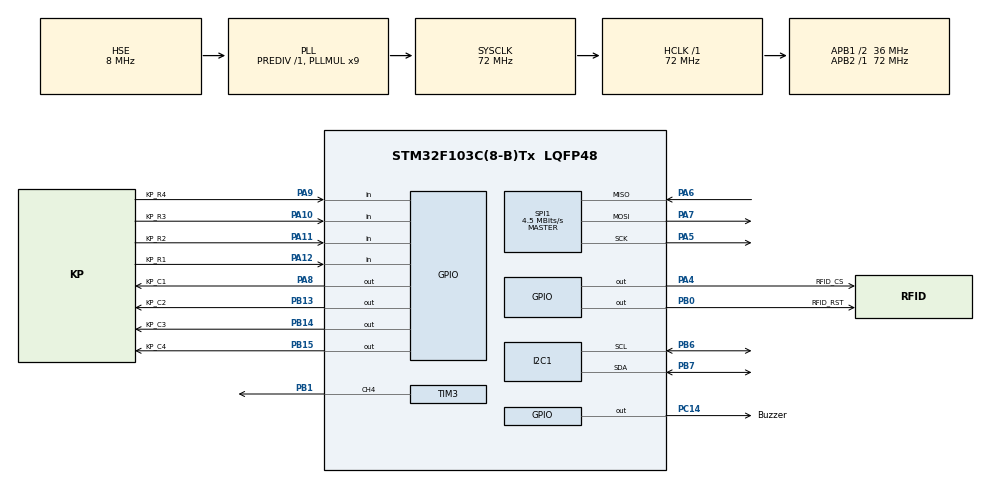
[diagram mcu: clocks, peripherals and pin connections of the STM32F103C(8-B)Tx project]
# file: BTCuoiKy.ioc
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Mcu.Family=STM32F1
Mcu.Name=STM32F103C(8-B)Tx
Mcu.Package=LQFP48
NVIC.PriorityGroup=NVIC_PRIORITYGROUP_4
PA10.GPIO_Label=KP_R3
PA10.GPIO_PuPd=GPIO_PULLUP
PA10.Signal=GPIO_Input
PA11.GPIO_Label=KP_R2
PA11.GPIO_PuPd=GPIO_PULLUP
PA11.Signal=GPIO_Input
PA12.GPIO_Label=KP_R1
PA12.GPIO_PuPd=GPIO_PULLUP
PA12.Signal=GPIO_Input
PA13.Mode=Serial_Wire
PA13.Signal=SYS_JTMS-SWDIO
PA14.Mode=Serial_Wire
PA14.Signal=SYS_JTCK-SWCLK
PA4.GPIO_Label=RFID_CS
PA4.GPIO_Speed=GPIO_SPEED_FREQ_HIGH
PA4.PinState=GPIO_PIN_SET
PA4.Signal=GPIO_Output
PA5.Mode=Full_Duplex_Master
PA5.Signal=SPI1_SCK
PA6.Mode=Full_Duplex_Master
PA6.Signal=SPI1_MISO
PA7.Mode=Full_Duplex_Master
PA7.Signal=SPI1_MOSI
PA8.GPIO_Label=KP_C1
PA8.PinState=GPIO_PIN_SET
PA8.Signal=GPIO_Output
PA9.GPIO_Label=KP_R4
PA9.GPIO_PuPd=GPIO_PULLUP
PA9.Signal=GPIO_Input
PB0.GPIO_Label=RFID_RST
PB0.GPIO_PuPd=GPIO_NOPULL
PB0.GPIO_Speed=GPIO_SPEED_FREQ_HIGH
PB0.PinState=GPIO_PIN_SET
PB0.Signal=GPIO_Output
PB1.Signal=S_TIM3_CH4
PB13.GPIO_Label=KP_C2
PB13.PinState=GPIO_PIN_SET
PB13.Signal=GPIO_Output
PB14.GPIO_Label=KP_C3
PB14.PinState=GPIO_PIN_SET
PB14.Signal=GPIO_Output
PB15.GPIO_Label=KP_C4
PB15.PinState=GPIO_PIN_SET
PB15.Signal=GPIO_Output
PB6.Mode=I2C
PB6.Signal=I2C1_SCL
PB7.Mode=I2C
PB7.Signal=I2C1_SDA
PC14-OSC32_IN.GPIO_Label=Buzzer
PC14-OSC32_IN.Signal=GPIO_Output
PD0-OSC_IN.Mode=HSE-External-Oscillator
PD0-OSC_IN.Signal=RCC_OSC_IN
PD1-OSC_OUT.Mode=HSE-External-Oscillator
PD1-OSC_OUT.Signal=RCC_OSC_OUT
ProjectManager.HeapSize=0x200
ProjectManager.StackSize=0x400
ProjectManager.TargetToolchain=STM32CubeIDE
RCC.AHBFreq_Value=72000000
RCC.APB1CLKDivider=RCC_HCLK_DIV2
RCC.APB1Freq_Value=36000000
RCC.APB1TimFreq_Value=72000000
RCC.APB2Freq_Value=72000000
RCC.APB2TimFreq_Value=72000000
RCC.HCLKFreq_Value=72000000
RCC.PLLMUL=RCC_PLL_MUL9
RCC.PLLSourceVirtual=RCC_PLLSOURCE_HSE
RCC.SYSCLKFreq_VALUE=72000000
RCC.SYSCLKSource=RCC_SYSCLKSOURCE_PLLCLK
RCC.USBFreq_Value=72000000
SH.S_TIM3_CH4.0=TIM3_CH4,PWM Generation4 CH4
SPI1.BaudRatePrescaler=SPI_BAUDRATEPRESCALER_16
SPI1.CalculateBaudRate=4.5 MBits/s
SPI1.Direction=SPI_DIRECTION_2LINES
SPI1.Mode=SPI_MODE_MASTER
SPI1.VirtualType=VM_MASTER
TIM3.Channel-PWM\ Generation4\ CH4=TIM_CHANNEL_4
TIM3.Period=999
TIM3.Prescaler=1439
TIM3.Pulse-PWM\ Generation4\ CH4=25
board=custom

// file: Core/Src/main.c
/* USER CODE BEGIN Header */
/**
  ******************************************************************************
  * @file           : main.c
  * @brief          : Main program body
  ******************************************************************************
  * @attention
  *
  * Copyright (c) 2026 STMicroelectronics.
  * All rights reserved.
  *
  * This software is licensed under terms that can be found in the LICENSE file
  * in the root directory of this software component.
  * If no LICENSE file comes with this software, it is provided AS-IS.
  *
  ******************************************************************************
  */
/* USER CODE END Header */
#include "main.h"

/* USER CODE BEGIN Includes */
#include "CLCD_I2C.h"
#include "RC522.h"
#include "string.h"
#include "stdio.h"
#include "stdbool.h"
/* USER CODE END Includes */

/* USER CODE BEGIN PTD */
typedef enum
{
    ST_LOGIN = 0,

    ST_DOOR_OPEN,

    ST_LOCKED,

    ST_ADMIN_OLD_PASSWORD,

    ST_ADMIN_NEW_PASSWORD

} AppState;

/* USER CODE END PTD */

/* USER CODE BEGIN PD */
#define PASSWORD_FLASH_ADDR    0x0800FC00UL
#define PASSWORD_MAGIC         0xA55AU
#define PASSWORD_MAX_LEN       16U
#define PASSWORD_MAX_LEN      8
#define UID_LEN               4

#define MAX_WRONG_ATTEMPTS    3

#define LOCK_TIME_MS          30000UL
#define DOOR_OPEN_TIME_MS     5000UL
#define BUZZER_TIME_MS        3000UL

#define RFID_SCAN_PERIOD_MS   100UL

#define SERVO_CCR_0_DEG       25U
#define SERVO_CCR_90_DEG      75U
#define SERVO_CCR_180_DEG     125U

/* USER CODE END PD */

I2C_HandleTypeDef hi2c1;

SPI_HandleTypeDef hspi1;

TIM_HandleTypeDef htim3;

/* USER CODE BEGIN PV */
CLCD_I2C_Name LCD1;

/* =========================
   RFID
   ========================= */

#define UID_LEN 4

uint8_t status;
uint8_t str[16];

uint8_t admin_uid[UID_LEN] =
{
    0xFC, 0x31, 0x03, 0x07
};

/* =========================
   PASSWORD
   ========================= */

char system_password[PASSWORD_MAX_LEN + 1] = "1234";

char input_buffer[17] = {0};

uint8_t input_len = 0;

uint8_t wrong_count = 0;

/* =========================
   STATE
   ========================= */
AppState app_state = ST_LOGIN;

/* =========================
   TIMER
   ========================= */

uint32_t door_open_tick = 0;

uint32_t lock_start_tick = 0;

uint32_t buzzer_start_tick = 0;

uint32_t last_rfid_scan = 0;

bool buzzer_active = false;

/* USER CODE END PV */

void SystemClock_Config(void);
static void MX_GPIO_Init(void);
static void MX_I2C1_Init(void);
static void MX_SPI1_Init(void);
static void MX_TIM3_Init(void);
/* USER CODE BEGIN PFP */
void Password_SaveFlash(void);
void Password_LoadFlash(void);

char Keypad_Scan(void);

void HandleKey(char key);

void ClearInput(void);
void AppendInput(char key);
void BackspaceInput(void);

void LCD_ShowInput(const char *title);

void Door_Open(void);
void Door_Close(void);

void Buzzer_On(void);
void Buzzer_Off(void);

bool RFID_IsAdmin(uint8_t *uid);
void RFID_Process(void);

void CheckSystemTimers(void);

/* USER CODE END PFP */

/* USER CODE BEGIN 0 */
char Keypad_Scan(void)
{
    const char keymap[4][4] =
    {
        {'*','0','#','A'},
        {'7','8','9','B'},
        {'4','5','6','C'},
        {'1','2','3','D'}
    };

    GPIO_TypeDef *colPort[4] =
    {
        GPIOA,
        GPIOB,
        GPIOB,
        GPIOB
    };
  uint16_t colPin[4] =
    {
        GPIO_PIN_8,
        GPIO_PIN_15,
        GPIO_PIN_14,
        GPIO_PIN_13
    };

    GPIO_TypeDef *rowPort[4] =
    {
        GPIOA,
        GPIOA,
        GPIOA,
        GPIOA
    };

    uint16_t rowPin[4] =
    {
        GPIO_PIN_12,
        GPIO_PIN_11,
        GPIO_PIN_10,
        GPIO_PIN_9
    };

    for (int c = 0; c < 4; c++)
    {
        HAL_GPIO_WritePin(
            GPIOA,
            GPIO_PIN_8,
            GPIO_PIN_SET
        );

        HAL_GPIO_WritePin(
            GPIOB,
            GPIO_PIN_13 |
            GPIO_PIN_14 |
            GPIO_PIN_15,
            GPIO_PIN_SET
        );

        HAL_GPIO_WritePin(
            colPort[c],
            colPin[c],
            GPIO_PIN_RESET
        );

        for (volatile int i = 0; i < 200; i++);

        for (int r = 0; r < 4; r++)
        {
            if (HAL_GPIO_ReadPin(
                    rowPort[r],
                    rowPin[r])
                == GPIO_PIN_RESET)
            {
                return keymap[r][c];
            }
        }
    }

    return 0;
}
bool RFID_IsAdmin(uint8_t *uid)
{
    for (uint8_t i = 0; i < UID_LEN; i++)
    {
        if (uid[i] != admin_uid[i])
        {
            return false;
        }
    }

    return true;
}

void RFID_Process(void)
{
    if (HAL_GetTick() - last_rfid_scan < RFID_SCAN_PERIOD_MS)
    {
        return;
    }

    last_rfid_scan = HAL_GetTick();

    status = MFRC522_Request(PICC_REQIDL, str);

    if (status != MI_OK)
        return;

    status = MFRC522_Anticoll(str);

    if (status != MI_OK)
        return;

    if (RFID_IsAdmin(str))
    {
        ClearInput();

        app_state = ST_ADMIN_OLD_PASSWORD;

        LCD_ShowInput("MK hien tai:");
    }
}
void Password_SaveFlash(void)
{
    FLASH_EraseInitTypeDef erase;
    uint32_t page_error = 0;

    HAL_FLASH_Unlock();

    erase.TypeErase   = FLASH_TYPEERASE_PAGES;
    erase.PageAddress = PASSWORD_FLASH_ADDR;
    erase.NbPages     = 1;

    if (HAL_FLASHEx_Erase(&erase, &page_error) != HAL_OK)
    {
        HAL_FLASH_Lock();
        return;
    }

    /* Luu MAGIC */
    HAL_FLASH_Program(
        FLASH_TYPEPROGRAM_HALFWORD,
        PASSWORD_FLASH_ADDR,
        PASSWORD_MAGIC
    );

    /* Luu password */
    for (uint32_t i = 0; i <= PASSWORD_MAX_LEN; i += 2)
    {
        uint16_t data;

        data = (uint8_t)system_password[i];

        if (i + 1 <= PASSWORD_MAX_LEN)
        {
            data |= ((uint16_t)(uint8_t)system_password[i + 1] << 8);
        }
        else
        {
            data |= 0xFF00;
        }

        HAL_FLASH_Program(
            FLASH_TYPEPROGRAM_HALFWORD,
            PASSWORD_FLASH_ADDR + 2 + i,
            data
        );
    }

    HAL_FLASH_Lock();
}
void ClearInput(void)
{
    memset(input_buffer, 0, sizeof(input_buffer));
    input_len = 0;
}

void AppendInput(char key)
{
    if (input_len < PASSWORD_MAX_LEN)
    {
        input_buffer[input_len++] = key;
        input_buffer[input_len] = '\0';
    }
}
void Password_LoadFlash(void)
{
    uint16_t magic;

    magic = *(volatile uint16_t *)PASSWORD_FLASH_ADDR;

    /* Flash chua tung luu password */
    if (magic != PASSWORD_MAGIC)
    {
        strcpy(system_password, "1234");
        Password_SaveFlash();
        return;
    }

    const char *flash_password =
        (const char *)(PASSWORD_FLASH_ADDR + 2);

    uint8_t i;

    for (i = 0; i < PASSWORD_MAX_LEN; i++)
    {
        system_password[i] = flash_password[i];

        if (flash_password[i] == '\0')
        {
            break;
        }
    }

    system_password[PASSWORD_MAX_LEN] = '\0';

    /* Bao ve neu du lieu Flash loi */
    if (i == PASSWORD_MAX_LEN)
    {
        strcpy(system_password, "1234");
    }
}
void BackspaceInput(void)
{
    if (input_len > 0)
    {
        input_len--;
        input_buffer[input_len] = '\0';
    }
}
void LCD_ShowInput(const char *title)
{
    char hidden[17] = {0};

    /* Tao chuoi **** */
    for (uint8_t i = 0; i < input_len && i < 16; i++)
    {
        hidden[i] = '*';
    }

    hidden[input_len] = '\0';

    /* Xoa LCD */
    CLCD_I2C_Clear(&LCD1);

    /* Dong 1 */
    CLCD_I2C_SetCursor(&LCD1, 0, 0);
    CLCD_I2C_WriteString(&LCD1, title);

    /* Dong 2 */
    CLCD_I2C_SetCursor(&LCD1, 0, 1);

    if (input_len == 0)
    {
        CLCD_I2C_WriteString(&LCD1, "_");
    }
    else
    {
        CLCD_I2C_WriteString(&LCD1, hidden);
    }
}
void Servo_SetAngle(uint8_t angle)
{
    if (angle > 180)
        angle = 180;

    uint32_t ccr =
        SERVO_CCR_0_DEG +
        ((uint32_t)angle *
        (SERVO_CCR_180_DEG - SERVO_CCR_0_DEG))
        / 180;

    __HAL_TIM_SET_COMPARE(
        &htim3,
        TIM_CHANNEL_4,
        ccr
    );
}

void Door_Open(void)
{
    Servo_SetAngle(90);
}

void Door_Close(void)
{
    Servo_SetAngle(0);
}
void Buzzer_On(void)
{
    HAL_GPIO_WritePin(
        Buzzer_GPIO_Port,
        Buzzer_Pin,
        GPIO_PIN_SET
    );

    buzzer_active = true;
    buzzer_start_tick = HAL_GetTick();
}

void Buzzer_Off(void)
{
    HAL_GPIO_WritePin(
        Buzzer_GPIO_Port,
        Buzzer_Pin,
        GPIO_PIN_RESET
    );

    buzzer_active = false;
}
void CheckSystemTimers(void)
{
    uint32_t now = HAL_GetTick();

    static uint32_t last_display_second = 0;

    /* =====================================
       CUA TU DONG DONG
       ===================================== */

    if (app_state == ST_DOOR_OPEN)
    {
        if (now - door_open_tick >= DOOR_OPEN_TIME_MS)
        {
            Door_Close();

            ClearInput();

            app_state = ST_LOGIN;

            LCD_ShowInput("Nhap mat khau");
        }
    }

    /* =====================================
       KHOA HE THONG 30 GIAY
       ===================================== */

    if (app_state == ST_LOCKED)
    {
        uint32_t elapsed =
            now - lock_start_tick;

        /* Hien thi dem nguoc */
        if (now - last_display_second >= 1000)
        {
            last_display_second = now;

            uint32_t remaining;

            if (elapsed < LOCK_TIME_MS)
            {
                remaining =
                    (LOCK_TIME_MS - elapsed + 999) / 1000;
            }
            else
            {
                remaining = 0;
            }

            char buf[17];

            snprintf(buf,
                     sizeof(buf),
                     "Con %lu giay",
                     remaining);

            CLCD_I2C_Clear(&LCD1);

            CLCD_I2C_SetCursor(&LCD1, 0, 0);
            CLCD_I2C_WriteString(&LCD1,
                                 "HE THONG KHOA");

            CLCD_I2C_SetCursor(&LCD1, 0, 1);
            CLCD_I2C_WriteString(&LCD1,
                                 buf);
        }

        /* Het 30 giay */
        if (elapsed >= LOCK_TIME_MS)
        {
            Buzzer_Off();

            ClearInput();

            app_state = ST_LOGIN;

            LCD_ShowInput("Nhap mat khau");
        }
    }

    /* =====================================
       BUZZER
       ===================================== */

    if (buzzer_active)
    {
        if (now - buzzer_start_tick >= BUZZER_TIME_MS)
        {
            Buzzer_Off();
        }
    }
}
void HandleKey(char key)
  {
      switch (app_state)
      {
          case ST_LOGIN:

              if (key >= '0' && key <= '9')
              {
                  AppendInput(key);
                  LCD_ShowInput("Nhap mat khau");
              }

              else if (key == '*')
              {
                  BackspaceInput();
                  LCD_ShowInput("Nhap mat khau");
              }

              else if (key == '#')
              {
                  /* ===== MỤC 25: MẬT KHẨU ĐÚNG ===== */
                  if (strcmp(input_buffer, system_password) == 0)
                  {
                      wrong_count = 0;
                      ClearInput();

                      CLCD_I2C_Clear(&LCD1);

                      CLCD_I2C_SetCursor(&LCD1, 0, 0);
                      CLCD_I2C_WriteString(&LCD1, "MAT KHAU DUNG");

                      CLCD_I2C_SetCursor(&LCD1, 0, 1);
                      CLCD_I2C_WriteString(&LCD1, "CUA DA MO");

                      Door_Open();

                      door_open_tick = HAL_GetTick();

                      app_state = ST_DOOR_OPEN;
                  }

                  /* ===== MỤC 26: MẬT KHẨU SAI ===== */
                  else
                  {
                      wrong_count++;

                      ClearInput();

                      if (wrong_count >= 3)
                      {
                          wrong_count = 0;

                          Door_Close();

                          Buzzer_On();

                          buzzer_start_tick = HAL_GetTick();
                          lock_start_tick = HAL_GetTick();

                          app_state = ST_LOCKED;

                          CLCD_I2C_Clear(&LCD1);

                          CLCD_I2C_SetCursor(&LCD1, 0, 0);
                          CLCD_I2C_WriteString(&LCD1, "HE THONG KHOA");

                          CLCD_I2C_SetCursor(&LCD1, 0, 1);
                          CLCD_I2C_WriteString(&LCD1, "Con 30 giay");
                      }
                      else
                      {
                          char msg[17];

                          snprintf(msg,
                                   sizeof(msg),
                                   "Con %d lan",
                                   3 - wrong_count);

                          CLCD_I2C_Clear(&LCD1);

                          CLCD_I2C_SetCursor(&LCD1, 0, 0);
                          CLCD_I2C_WriteString(&LCD1, "SAI MAT KHAU");

                          CLCD_I2C_SetCursor(&LCD1, 0, 1);
                          CLCD_I2C_WriteString(&LCD1, msg);

                          HAL_Delay(1000);

                          LCD_ShowInput("Nhap mat khau");
                      }
                  }
              }

              break;
              /* ==================================
                         ADMIN - NHAP MAT KHAU HIEN TAI
               ================================== */
          case ST_ADMIN_OLD_PASSWORD:

                      if (key >= '0' && key <= '9')
                      {
                          AppendInput(key);
                          LCD_ShowInput("MK hien tai:");
                      }

                      else if (key == '*')
                      {
                          BackspaceInput();
                          LCD_ShowInput("MK hien tai:");
                      }

                      else if (key == '#')
                      {
                          if (strcmp(input_buffer, system_password) == 0)
                          {
                              ClearInput();

                              app_state = ST_ADMIN_NEW_PASSWORD;

                              LCD_ShowInput("Nhap MK moi:");
                          }
                          else
                          {
                              ClearInput();

                              app_state = ST_LOGIN;

                              CLCD_I2C_Clear(&LCD1);
                              CLCD_I2C_WriteString(&LCD1, "SAI MAT KHAU");

                              HAL_Delay(1000);

                              LCD_ShowInput("Nhap mat khau");
                          }
                      }

                      break;

                  /* ==================================
                     ADMIN - NHAP MAT KHAU MOI
                     ================================== */
                  case ST_ADMIN_NEW_PASSWORD:

                      if (key >= '0' && key <= '9')
                      {
                          AppendInput(key);
                          LCD_ShowInput("Nhap MK moi:");
                      }

                      else if (key == '*')
                      {
                          BackspaceInput();
                          LCD_ShowInput("Nhap MK moi:");
                      }

                      else if (key == '#')
                      {
                          if (input_len >= 4)
                          {
                              strcpy(system_password,
                                     input_buffer);

                              Password_SaveFlash();

                              ClearInput();

                              app_state = ST_LOGIN;

                              CLCD_I2C_Clear(&LCD1);

                              CLCD_I2C_SetCursor(&LCD1, 0, 0);
                              CLCD_I2C_WriteString(&LCD1, "DOI MAT KHAU");

                              CLCD_I2C_SetCursor(&LCD1, 0, 1);
                              CLCD_I2C_WriteString(&LCD1, "THANH CONG");

                              HAL_Delay(1500);

                              LCD_ShowInput("Nhap mat khau");
                          }
                      }

                      break;

                  case ST_DOOR_OPEN:
                      /* Không xử lý mật khẩu khi cửa đang mở */
                      break;

                  case ST_LOCKED:
                      /* Không cho nhập khi đang bị khóa 30 giây */
                      break;

                  default:
                      break;
              }
          }

/* USER CODE END 0 */

int main(void)
{

  /* MCU Configuration--------------------------------------------------------*/

  /* Reset of all peripherals, Initializes the Flash interface and the Systick. */
  HAL_Init();

  /* Configure the system clock */
  SystemClock_Config();

  /* Initialize all configured peripherals */
  MX_GPIO_Init();
  MX_I2C1_Init();
  MX_SPI1_Init();
  MX_TIM3_Init();
  /* USER CODE BEGIN 2 */
  /* LCD */
  CLCD_I2C_Init(
      &LCD1,
      &hi2c1,
      0x4E,
      16,
      2
  );

  /* RFID */
  MFRC522_Init();

  /* Servo */
  HAL_TIM_PWM_Start(
      &htim3,
      TIM_CHANNEL_4
  );

  Door_Close();

  /* Buzzer */
  Buzzer_Off();

  Password_LoadFlash();

  /* LCD */
  CLCD_I2C_Clear(&LCD1);

  LCD_ShowInput("Nhap mat khau");

  /* USER CODE END 2 */

  /* Infinite loop */
  /* USER CODE BEGIN WHILE */
  while (1)
  {
	  char key = Keypad_Scan();

	     if (key != 0)
	     {
	         HandleKey(key);

	         /* Cho nha phim */
	         while (Keypad_Scan() != 0)
	         {
	             HAL_Delay(10);
	         }

	         HAL_Delay(20);
	     }

	     /* RFID chi hoat dong o man hinh Login */
	     if (app_state == ST_LOGIN)
	     {
	         RFID_Process();
	     }

	     /* Kiem tra servo, khoa 30s, buzzer */
	     CheckSystemTimers();

    /* USER CODE END WHILE */

  }
}

void SystemClock_Config(void)
{
  RCC_OscInitTypeDef RCC_OscInitStruct = {0};
  RCC_ClkInitTypeDef RCC_ClkInitStruct = {0};

  /** Initializes the RCC Oscillators according to the specified parameters
  * in the RCC_OscInitTypeDef structure.
  */
  RCC_OscInitStruct.OscillatorType = RCC_OSCILLATORTYPE_HSE;
  RCC_OscInitStruct.HSEState = RCC_HSE_ON;
  RCC_OscInitStruct.HSEPredivValue = RCC_HSE_PREDIV_DIV1;
  RCC_OscInitStruct.HSIState = RCC_HSI_ON;
  RCC_OscInitStruct.PLL.PLLState = RCC_PLL_ON;
  RCC_OscInitStruct.PLL.PLLSource = RCC_PLLSOURCE_HSE;
  RCC_OscInitStruct.PLL.PLLMUL = RCC_PLL_MUL9;
  if (HAL_RCC_OscConfig(&RCC_OscInitStruct) != HAL_OK)
  {
    Error_Handler();
  }

  /** Initializes the CPU, AHB and APB buses clocks
  */
  RCC_ClkInitStruct.ClockType = RCC_CLOCKTYPE_HCLK|RCC_CLOCKTYPE_SYSCLK
                              |RCC_CLOCKTYPE_PCLK1|RCC_CLOCKTYPE_PCLK2;
  RCC_ClkInitStruct.SYSCLKSource = RCC_SYSCLKSOURCE_PLLCLK;
  RCC_ClkInitStruct.AHBCLKDivider = RCC_SYSCLK_DIV1;
  RCC_ClkInitStruct.APB1CLKDivider = RCC_HCLK_DIV2;
  RCC_ClkInitStruct.APB2CLKDivider = RCC_HCLK_DIV1;

  if (HAL_RCC_ClockConfig(&RCC_ClkInitStruct, FLASH_LATENCY_2) != HAL_OK)
  {
    Error_Handler();
  }
}

static void MX_I2C1_Init(void)
{

	 hi2c1.Instance = I2C1;
	    hi2c1.Init.ClockSpeed = 100000;
	    hi2c1.Init.DutyCycle = I2C_DUTYCYCLE_2;
	    hi2c1.Init.OwnAddress1 = 0;
	    hi2c1.Init.AddressingMode = I2C_ADDRESSINGMODE_7BIT;
	    hi2c1.Init.DualAddressMode = I2C_DUALADDRESS_DISABLE;
	    hi2c1.Init.OwnAddress2 = 0;
	    hi2c1.Init.GeneralCallMode = I2C_GENERALCALL_DISABLE;
	    hi2c1.Init.NoStretchMode = I2C_NOSTRETCH_DISABLE;

	    if (HAL_I2C_Init(&hi2c1) != HAL_OK)
	    {
	        Error_Handler();
	    }

}

static void MX_SPI1_Init(void)
{

  /* SPI1 parameter configuration*/
  hspi1.Instance = SPI1;
  hspi1.Init.Mode = SPI_MODE_MASTER;
  hspi1.Init.Direction = SPI_DIRECTION_2LINES;
  hspi1.Init.DataSize = SPI_DATASIZE_8BIT;
  hspi1.Init.CLKPolarity = SPI_POLARITY_LOW;
  hspi1.Init.CLKPhase = SPI_PHASE_1EDGE;
  hspi1.Init.NSS = SPI_NSS_SOFT;
  hspi1.Init.BaudRatePrescaler = SPI_BAUDRATEPRESCALER_16;
  hspi1.Init.FirstBit = SPI_FIRSTBIT_MSB;
  hspi1.Init.TIMode = SPI_TIMODE_DISABLE;
  hspi1.Init.CRCCalculation = SPI_CRCCALCULATION_DISABLE;
  hspi1.Init.CRCPolynomial = 10;
  if (HAL_SPI_Init(&hspi1) != HAL_OK)
  {
    Error_Handler();
  }

}

static void MX_TIM3_Init(void)
{

  TIM_MasterConfigTypeDef sMasterConfig = {0};
  TIM_OC_InitTypeDef sConfigOC = {0};

  htim3.Instance = TIM3;
  htim3.Init.Prescaler = 1439;
  htim3.Init.CounterMode = TIM_COUNTERMODE_UP;
  htim3.Init.Period = 999;
  htim3.Init.ClockDivision = TIM_CLOCKDIVISION_DIV1;
  htim3.Init.AutoReloadPreload = TIM_AUTORELOAD_PRELOAD_DISABLE;
  if (HAL_TIM_PWM_Init(&htim3) != HAL_OK)
  {
    Error_Handler();
  }
  sMasterConfig.MasterOutputTrigger = TIM_TRGO_RESET;
  sMasterConfig.MasterSlaveMode = TIM_MASTERSLAVEMODE_DISABLE;
  if (HAL_TIMEx_MasterConfigSynchronization(&htim3, &sMasterConfig) != HAL_OK)
  {
    Error_Handler();
  }
  sConfigOC.OCMode = TIM_OCMODE_PWM1;
  sConfigOC.Pulse = 25;
  sConfigOC.OCPolarity = TIM_OCPOLARITY_HIGH;
  sConfigOC.OCFastMode = TIM_OCFAST_DISABLE;
  if (HAL_TIM_PWM_ConfigChannel(&htim3, &sConfigOC, TIM_CHANNEL_4) != HAL_OK)
  {
    Error_Handler();
  }
  HAL_TIM_MspPostInit(&htim3);

}

static void MX_GPIO_Init(void)
{
  GPIO_InitTypeDef GPIO_InitStruct = {0};

  /* GPIO Ports Clock Enable */
  __HAL_RCC_GPIOC_CLK_ENABLE();
  __HAL_RCC_GPIOD_CLK_ENABLE();
  __HAL_RCC_GPIOA_CLK_ENABLE();
  __HAL_RCC_GPIOB_CLK_ENABLE();

  /*Configure GPIO pin Output Level */
  HAL_GPIO_WritePin(Buzzer_GPIO_Port, Buzzer_Pin, GPIO_PIN_RESET);

  /*Configure GPIO pin Output Level */
  HAL_GPIO_WritePin(GPIOA, RFID_CS_Pin|KP_C1_Pin, GPIO_PIN_SET);

  /*Configure GPIO pin Output Level */
  HAL_GPIO_WritePin(GPIOB, RFID_RST_Pin|KP_C2_Pin|KP_C3_Pin|KP_C4_Pin, GPIO_PIN_SET);

  /*Configure GPIO pin : Buzzer_Pin */
  GPIO_InitStruct.Pin = Buzzer_Pin;
  GPIO_InitStruct.Mode = GPIO_MODE_OUTPUT_PP;
  GPIO_InitStruct.Pull = GPIO_NOPULL;
  GPIO_InitStruct.Speed = GPIO_SPEED_FREQ_LOW;
  HAL_GPIO_Init(Buzzer_GPIO_Port, &GPIO_InitStruct);

  /*Configure GPIO pin : RFID_CS_Pin */
  GPIO_InitStruct.Pin = RFID_CS_Pin;
  GPIO_InitStruct.Mode = GPIO_MODE_OUTPUT_PP;
  GPIO_InitStruct.Pull = GPIO_NOPULL;
  GPIO_InitStruct.Speed = GPIO_SPEED_FREQ_HIGH;
  HAL_GPIO_Init(RFID_CS_GPIO_Port, &GPIO_InitStruct);

  /*Configure GPIO pin : RFID_RST_Pin */
  GPIO_InitStruct.Pin = RFID_RST_Pin;
  GPIO_InitStruct.Mode = GPIO_MODE_OUTPUT_PP;
  GPIO_InitStruct.Pull = GPIO_NOPULL;
  GPIO_InitStruct.Speed = GPIO_SPEED_FREQ_HIGH;
  HAL_GPIO_Init(RFID_RST_GPIO_Port, &GPIO_InitStruct);

  /*Configure GPIO pins : KP_C2_Pin KP_C3_Pin KP_C4_Pin */
  GPIO_InitStruct.Pin = KP_C2_Pin|KP_C3_Pin|KP_C4_Pin;
  GPIO_InitStruct.Mode = GPIO_MODE_OUTPUT_PP;
  GPIO_InitStruct.Pull = GPIO_NOPULL;
  GPIO_InitStruct.Speed = GPIO_SPEED_FREQ_LOW;
  HAL_GPIO_Init(GPIOB, &GPIO_InitStruct);

  /*Configure GPIO pin : KP_C1_Pin */
  GPIO_InitStruct.Pin = KP_C1_Pin;
  GPIO_InitStruct.Mode = GPIO_MODE_OUTPUT_PP;
  GPIO_InitStruct.Pull = GPIO_NOPULL;
  GPIO_InitStruct.Speed = GPIO_SPEED_FREQ_LOW;
  HAL_GPIO_Init(KP_C1_GPIO_Port, &GPIO_InitStruct);

  /*Configure GPIO pins : KP_R4_Pin KP_R3_Pin KP_R2_Pin KP_R1_Pin */
  GPIO_InitStruct.Pin = KP_R4_Pin|KP_R3_Pin|KP_R2_Pin|KP_R1_Pin;
  GPIO_InitStruct.Mode = GPIO_MODE_INPUT;
  GPIO_InitStruct.Pull = GPIO_PULLUP;
  HAL_GPIO_Init(GPIOA, &GPIO_InitStruct);

}

void Error_Handler(void)
{
  __disable_irq();
  while (1)
  {
  }
}
